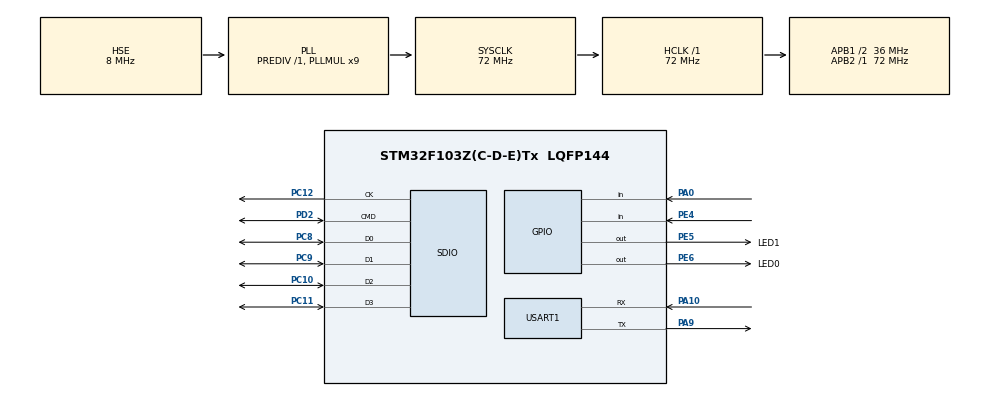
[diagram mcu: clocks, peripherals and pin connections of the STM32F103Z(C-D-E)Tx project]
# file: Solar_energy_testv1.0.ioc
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Dma.Request0=USART1_RX
Dma.Request1=USART1_TX
Dma.Request2=SDIO
Dma.SDIO.2.Direction=DMA_PERIPH_TO_MEMORY
Dma.SDIO.2.Instance=DMA2_Channel4
Dma.SDIO.2.MemDataAlignment=DMA_MDATAALIGN_WORD
Dma.SDIO.2.MemInc=DMA_MINC_ENABLE
Dma.SDIO.2.Mode=DMA_NORMAL
Dma.SDIO.2.PeriphDataAlignment=DMA_PDATAALIGN_WORD
Dma.SDIO.2.PeriphInc=DMA_PINC_DISABLE
Dma.SDIO.2.Priority=DMA_PRIORITY_LOW
Dma.USART1_RX.0.Direction=DMA_PERIPH_TO_MEMORY
Dma.USART1_RX.0.Instance=DMA1_Channel5
Dma.USART1_RX.0.MemDataAlignment=DMA_MDATAALIGN_BYTE
Dma.USART1_RX.0.MemInc=DMA_MINC_ENABLE
Dma.USART1_RX.0.Mode=DMA_NORMAL
Dma.USART1_RX.0.PeriphDataAlignment=DMA_PDATAALIGN_BYTE
Dma.USART1_RX.0.PeriphInc=DMA_PINC_DISABLE
Dma.USART1_RX.0.Priority=DMA_PRIORITY_LOW
Dma.USART1_TX.1.Direction=DMA_MEMORY_TO_PERIPH
Dma.USART1_TX.1.Instance=DMA1_Channel4
Dma.USART1_TX.1.MemDataAlignment=DMA_MDATAALIGN_BYTE
Dma.USART1_TX.1.MemInc=DMA_MINC_ENABLE
Dma.USART1_TX.1.Mode=DMA_NORMAL
Dma.USART1_TX.1.PeriphDataAlignment=DMA_PDATAALIGN_BYTE
Dma.USART1_TX.1.PeriphInc=DMA_PINC_DISABLE
Dma.USART1_TX.1.Priority=DMA_PRIORITY_LOW
FATFS._USE_LFN=2
Mcu.Family=STM32F1
Mcu.Name=STM32F103Z(C-D-E)Tx
Mcu.Package=LQFP144
NVIC.DMA1_Channel4_IRQn=true\:0\:0\:false\:false\:true\:false
NVIC.DMA1_Channel5_IRQn=true\:0\:0\:false\:false\:true\:false
NVIC.DMA2_Channel4_5_IRQn=true\:0\:0\:false\:false\:true\:false
NVIC.PriorityGroup=NVIC_PRIORITYGROUP_4
NVIC.USART1_IRQn=true\:0\:0\:false\:false\:true\:true
OSC_IN.Mode=HSE-External-Oscillator
OSC_IN.Signal=RCC_OSC_IN
OSC_OUT.Mode=HSE-External-Oscillator
OSC_OUT.Signal=RCC_OSC_OUT
PA0-WKUP.GPIO_PuPd=GPIO_PULLDOWN
PA0-WKUP.Signal=GPIO_Input
PA10.Mode=Asynchronous
PA10.Signal=USART1_RX
PA13.Mode=JTAG_5_pins
PA13.Signal=SYS_JTMS-SWDIO
PA14.Mode=JTAG_5_pins
PA14.Signal=SYS_JTCK-SWCLK
PA15.Mode=JTAG_5_pins
PA15.Signal=SYS_JTDI
PA9.Mode=Asynchronous
PA9.Signal=USART1_TX
PB3.Mode=JTAG_5_pins
PB3.Signal=SYS_JTDO-TRACESWO
PB4.Mode=JTAG_5_pins
PB4.Signal=SYS_NJTRST
PC10.Mode=SD_4_bits_Wide_bus
PC10.Signal=SDIO_D2
PC11.Mode=SD_4_bits_Wide_bus
PC11.Signal=SDIO_D3
PC12.Mode=SD_4_bits_Wide_bus
PC12.Signal=SDIO_CK
PC14-OSC32_IN.Mode=LSE-External-Oscillator
PC14-OSC32_IN.Signal=RCC_OSC32_IN
PC15-OSC32_OUT.Mode=LSE-External-Oscillator
PC15-OSC32_OUT.Signal=RCC_OSC32_OUT
PC8.Mode=SD_4_bits_Wide_bus
PC8.Signal=SDIO_D0
PC9.Mode=SD_4_bits_Wide_bus
PC9.Signal=SDIO_D1
PD2.Mode=SD_4_bits_Wide_bus
PD2.Signal=SDIO_CMD
PE4.GPIO_PuPd=GPIO_PULLUP
PE4.Signal=GPIO_Input
PE5.GPIO_Label=LED1
PE5.Signal=GPIO_Output
PE6.GPIO_Label=LED0
PE6.Signal=GPIO_Output
ProjectManager.HeapSize=0x200
ProjectManager.StackSize=0x1000
ProjectManager.TargetToolchain=EWARM
RCC.AHBFreq_Value=72000000
RCC.APB1CLKDivider=RCC_HCLK_DIV2
RCC.APB1Freq_Value=36000000
RCC.APB1TimFreq_Value=72000000
RCC.APB2Freq_Value=72000000
RCC.APB2TimFreq_Value=72000000
RCC.HCLKFreq_Value=72000000
RCC.PLLMUL=RCC_PLL_MUL9
RCC.PLLSourceVirtual=RCC_PLLSOURCE_HSE
RCC.SYSCLKFreq_VALUE=72000000
RCC.SYSCLKSource=RCC_SYSCLKSOURCE_PLLCLK
RCC.USBFreq_Value=72000000
USART1.VirtualMode=VM_ASYNC
VP_FATFS_VS_SDIO.Mode=SDIO
board=Solar_energy_testv1.0

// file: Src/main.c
/**
  ******************************************************************************
  * @file           : main.c
  * @brief          : Main program body
  ******************************************************************************
  * This notice applies to any and all portions of this file
  * that are not between comment pairs USER CODE BEGIN and
  * USER CODE END. Other portions of this file, whether
  * inserted by the user or by software development tools
  * are owned by their respective copyright owners.
  *
  * Copyright (c) 2018 STMicroelectronics International N.V.
  * All rights reserved.
  *
  * Redistribution and use in source and binary forms, with or without
  * modification, are permitted, provided that the following conditions are met:
  *
  * 1. Redistribution of source code must retain the above copyright notice,
  *    this list of conditions and the following disclaimer.
  * 2. Redistributions in binary form must reproduce the above copyright notice,
  *    this list of conditions and the following disclaimer in the documentation
  *    and/or other materials provided with the distribution.
  * 3. Neither the name of STMicroelectronics nor the names of other
  *    contributors to this software may be used to endorse or promote products
  *    derived from this software without specific written permission.
  * 4. This software, including modifications and/or derivative works of this
  *    software, must execute solely and exclusively on microcontroller or
  *    microprocessor devices manufactured by or for STMicroelectronics.
  * 5. Redistribution and use of this software other than as permitted under
  *    this license is void and will automatically terminate your rights under
  *    this license.
  *
  * THIS SOFTWARE IS PROVIDED BY STMICROELECTRONICS AND CONTRIBUTORS "AS IS"
  * AND ANY EXPRESS, IMPLIED OR STATUTORY WARRANTIES, INCLUDING, BUT NOT
  * LIMITED TO, THE IMPLIED WARRANTIES OF MERCHANTABILITY, FITNESS FOR A
  * PARTICULAR PURPOSE AND NON-INFRINGEMENT OF THIRD PARTY INTELLECTUAL PROPERTY
  * RIGHTS ARE DISCLAIMED TO THE FULLEST EXTENT PERMITTED BY LAW. IN NO EVENT
  * SHALL STMICROELECTRONICS OR CONTRIBUTORS BE LIABLE FOR ANY DIRECT, INDIRECT,
  * INCIDENTAL, SPECIAL, EXEMPLARY, OR CONSEQUENTIAL DAMAGES (INCLUDING, BUT NOT
  * LIMITED TO, PROCUREMENT OF SUBSTITUTE GOODS OR SERVICES; LOSS OF USE, DATA,
  * OR PROFITS; OR BUSINESS INTERRUPTION) HOWEVER CAUSED AND ON ANY THEORY OF
  * LIABILITY, WHETHER IN CONTRACT, STRICT LIABILITY, OR TORT (INCLUDING
  * NEGLIGENCE OR OTHERWISE) ARISING IN ANY WAY OUT OF THE USE OF THIS SOFTWARE,
  * EVEN IF ADVISED OF THE POSSIBILITY OF SUCH DAMAGE.
  *
  ******************************************************************************
  */
#include "main.h"
#include "stm32f1xx_hal.h"
#include "dma.h"
#include "fatfs.h"
#include "sdio.h"
#include "usart.h"
#include "gpio.h"

/* USER CODE BEGIN Includes */
#include "key.h"
#include "led.h"
/* USER CODE END Includes */

/* USER CODE BEGIN PV */
/* Private variables ---------------------------------------------------------*/

FATFS fs;													/* FatFs文件系统对象 */
FIL file;													/* 文件对象 */
FRESULT f_res;                    /* 文件操作结果 */
UINT fnum;            					  /* 文件成功读写数量 */
BYTE ReadBuffer[1024]={0};        /* 读缓冲区 */
BYTE WriteBuffer[]= "欢迎使用硬石STM32开发板 今天是个好日子，新建文件系统测试文件\n";/* 写缓冲区*/

/* USER CODE END PV */

void SystemClock_Config(void);

/* USER CODE BEGIN PFP */
/* Private function prototypes -----------------------------------------------*/

/* USER CODE END PFP */

int main(void)
{

  /* MCU Configuration----------------------------------------------------------*/

  /* Reset of all peripherals, Initializes the Flash interface and the Systick. */
  HAL_Init();

  /* Configure the system clock */
  SystemClock_Config();

  /* Initialize all configured peripherals */
  MX_GPIO_Init();
  MX_DMA_Init();
  MX_USART1_UART_Init();
  MX_SDIO_SD_Init();
  MX_FATFS_Init();
  /* USER CODE BEGIN 2 */

  printf("****** 即将进行测试... ******\r\n");
	if(retSD == 0)
  {
	//在SD卡挂载文件系统，文件系统挂载时会对SD卡初始化
	f_res = f_mount(&fs,(TCHAR const*)SDPath,1);
	printf_fatfs_error(f_res);
    /*----------------------- 格式化测试 ---------------------------*/
    /* 如果没有文件系统就格式化创建创建文件系统 */
    if(f_res == FR_NO_FILESYSTEM)
    {
      printf("》SD卡还没有文件系统，即将进行格式化...\r\n");
      /* 格式化 */
      f_res=f_mkfs((TCHAR const*)SDPath,0,0);

      if(f_res == FR_OK)
      {
        printf("》SD卡已成功格式化文件系统。\r\n");
        /* 格式化后，先取消挂载 */
        f_res = f_mount(NULL,(TCHAR const*)SDPath,1);
        /* 重新挂载	*/
        f_res = f_mount(&fs,(TCHAR const*)SDPath,1);
      }
      else
      {
        printf("《《格式化失败。》》\r\n");
        while(1);
      }
    }
    else if(f_res!=FR_OK)
    {
      printf("！！SD卡挂载文件系统失败。(%d)\r\n",f_res);
      printf_fatfs_error(f_res);
      while(1);
    }
    else
    {
      printf("》文件系统挂载成功，可以进行读写测试\r\n");
    }

    /*----------------------- 文件系统测试：写测试 -----------------------------*/
    /* 打开文件，如果文件不存在则创建它 */
    printf("****** 即将进行文件写入测试... ******\r\n");
    f_res = f_open(&file, "FatFs读写测试文件.txt",FA_CREATE_ALWAYS | FA_WRITE );
    if ( f_res == FR_OK )
    {
      printf("》打开/创建FatFs读写测试文件.txt文件成功，向文件写入数据。\r\n");
      /* 将指定存储区内容写入到文件内 */
      f_res=f_write(&file,WriteBuffer,sizeof(WriteBuffer),&fnum);
      if(f_res==FR_OK)
      {
        printf("》文件写入成功，写入字节数据：%d\r\n",fnum);
        printf("》向文件写入的数据为：\r\n%s\r\n",WriteBuffer);
      }
      else
      {
        printf("！！文件写入失败：(%d)\r\n",f_res);
      }
      /* 不再读写，关闭文件 */
      f_close(&file);
    }
    else
    {
      printf("！！打开/创建文件失败。\r\n");
    }

    /*------------------- 文件系统测试：读测试 ------------------------------------*/
    printf("****** 即将进行文件读取测试... ******\r\n");
    f_res = f_open(&file, "FatFs读写测试文件.txt", FA_OPEN_EXISTING | FA_READ);
    if(f_res == FR_OK)
    {
      printf("》打开文件成功。\r\n");
      f_res = f_read(&file, ReadBuffer, sizeof(ReadBuffer), &fnum);
      if(f_res==FR_OK)
      {
        printf("》文件读取成功,读到字节数据：%d\r\n",fnum);
        printf("》读取得的文件数据为：\r\n%s \r\n", ReadBuffer);
      }
      else
      {
        printf("！！文件读取失败：(%d)\r\n",f_res);
      }
    }
    else
    {
      printf("！！打开文件失败。\r\n");
    }
    /* 不再读写，关闭文件 */
    f_close(&file);

    /* 不再使用，取消挂载 */
    f_res = f_mount(NULL,(TCHAR const*)SDPath,1);

  /* 注销一个FatFS设备：SD卡 */
    FATFS_UnLinkDriver(SDPath);
	}

  /* USER CODE END 2 */

  /* Infinite loop */
  while (1)
  {

  }

}

void SystemClock_Config(void)
{

  RCC_OscInitTypeDef RCC_OscInitStruct;
  RCC_ClkInitTypeDef RCC_ClkInitStruct;

    /**Initializes the CPU, AHB and APB busses clocks
    */
  RCC_OscInitStruct.OscillatorType = RCC_OSCILLATORTYPE_HSE;
  RCC_OscInitStruct.HSEState = RCC_HSE_ON;
  RCC_OscInitStruct.HSEPredivValue = RCC_HSE_PREDIV_DIV1;
  RCC_OscInitStruct.HSIState = RCC_HSI_ON;
  RCC_OscInitStruct.PLL.PLLState = RCC_PLL_ON;
  RCC_OscInitStruct.PLL.PLLSource = RCC_PLLSOURCE_HSE;
  RCC_OscInitStruct.PLL.PLLMUL = RCC_PLL_MUL9;
  if (HAL_RCC_OscConfig(&RCC_OscInitStruct) != HAL_OK)
  {
    _Error_Handler(__FILE__, __LINE__);
  }

    /**Initializes the CPU, AHB and APB busses clocks
    */
  RCC_ClkInitStruct.ClockType = RCC_CLOCKTYPE_HCLK|RCC_CLOCKTYPE_SYSCLK
                              |RCC_CLOCKTYPE_PCLK1|RCC_CLOCKTYPE_PCLK2;
  RCC_ClkInitStruct.SYSCLKSource = RCC_SYSCLKSOURCE_PLLCLK;
  RCC_ClkInitStruct.AHBCLKDivider = RCC_SYSCLK_DIV1;
  RCC_ClkInitStruct.APB1CLKDivider = RCC_HCLK_DIV2;
  RCC_ClkInitStruct.APB2CLKDivider = RCC_HCLK_DIV1;

  if (HAL_RCC_ClockConfig(&RCC_ClkInitStruct, FLASH_LATENCY_2) != HAL_OK)
  {
    _Error_Handler(__FILE__, __LINE__);
  }

    /**Configure the Systick interrupt time
    */
  HAL_SYSTICK_Config(HAL_RCC_GetHCLKFreq()/1000);

    /**Configure the Systick
    */
  HAL_SYSTICK_CLKSourceConfig(SYSTICK_CLKSOURCE_HCLK);

  /* SysTick_IRQn interrupt configuration */
  HAL_NVIC_SetPriority(SysTick_IRQn, 0, 0);
}

void _Error_Handler(char *file, int line)
{
  while(1)
  {
  }
}

/************************ (C) COPYRIGHT STMicroelectronics *****END OF FILE****/
